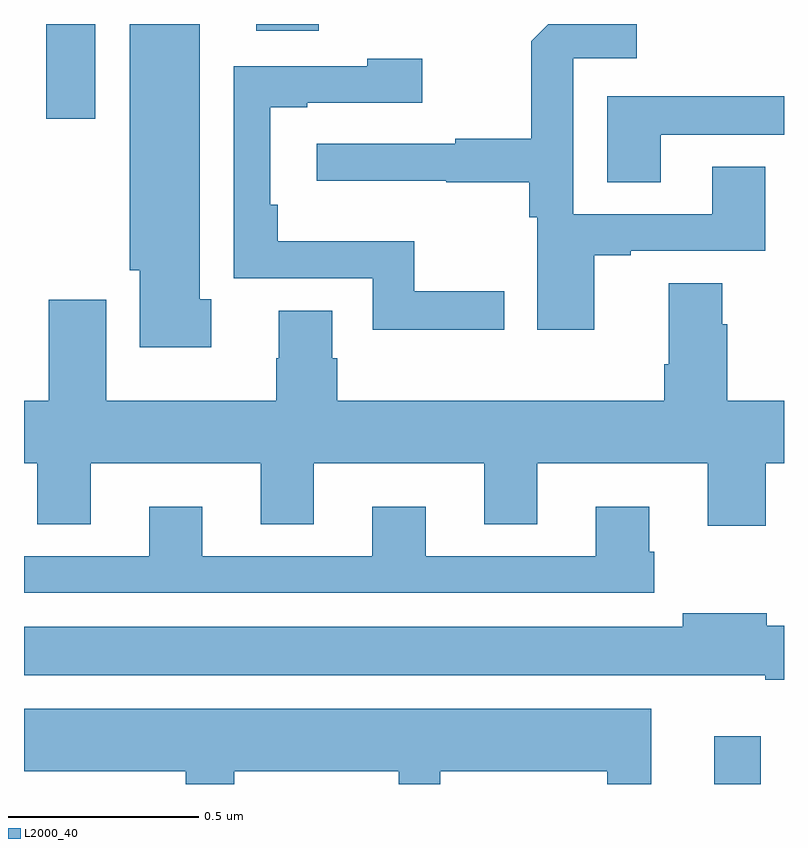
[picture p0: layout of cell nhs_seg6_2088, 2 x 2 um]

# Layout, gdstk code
import gdstk
lib = gdstk.Library(unit=1e-6, precision=1e-09)
def R(c, l, rs):  # rectangles x0, y0, x1, y1
    for r in rs: c.add(gdstk.rectangle(r[:2], r[2:], *l))
def P(c, l, *ps):  # polygons
    for p in ps: c.add(gdstk.Polygon(p, *l))
L2000_40 = (2000, 40)

nhs_seg6_2088 = lib.new_cell('nhs_seg6_2088')
R(nhs_seg6_2088, L2000_40, [(139.817,938.5,139.939,938.626), (138.059,940.251,138.187,940.5), (138.611,940.482,138.775,940.5)])
P(nhs_seg6_2088, L2000_40, [(139.501,939.891),(139.597,939.891),(139.597,939.903),(139.951,939.903),(139.951,940.124),(139.811,940.124),(139.811,939.999),(139.446,939.999),(139.446,940.41),(139.612,940.41),(139.612,940.5),(139.38,940.5),(139.335,940.455),(139.335,940.198),(139.135,940.198),(139.135,940.185),(138.771,940.185),(138.771,940.088),(139.111,940.088),(139.111,940.084),(139.33,940.084),(139.33,939.992),(139.35,939.992),(139.35,939.696),(139.501,939.696)],
  [(138.493,939.776),(138.463,939.776),(138.463,940.5),(138.278,940.5),(138.278,939.852),(138.305,939.852),(138.305,939.65),(138.493,939.65)],
  [(139.264,939.797),(139.027,939.797),(139.027,939.928),(138.668,939.928),(138.668,940.024),(138.648,940.024),(138.648,940.281),(138.745,940.281),(138.745,940.293),(139.048,940.293),(139.048,940.408),(138.903,940.408),(138.903,940.389),(138.552,940.389),(138.552,939.831),(138.918,939.831),(138.918,939.695),(139.264,939.695)],
  [(139.675,940.209),(140,940.209),(140,940.31),(139.535,940.31),(139.535,940.084),(139.675,940.084)],
  [(139.952,939.344),(140,939.344),(140,939.508),(139.85,939.508),(139.85,939.71),(139.837,939.71),(139.837,939.818),(139.697,939.818),(139.697,939.604),(139.685,939.604),(139.685,939.508),(138.824,939.508),(138.824,939.621),(138.811,939.621),(138.811,939.746),(138.671,939.746),(138.671,939.621),(138.664,939.621),(138.664,939.508),(138.217,939.508),(138.217,939.775),(138.065,939.775),(138.065,939.508),(138,939.508),(138,939.344),(138.035,939.344),(138.035,939.184),(138.175,939.184),(138.175,939.344),(138.623,939.344),(138.623,939.184),(138.763,939.184),(138.763,939.344),(139.211,939.344),(139.211,939.184),(139.351,939.184),(139.351,939.344),(139.799,939.344),(139.799,939.18),(139.952,939.18)],
  [(139.658,939.111),(139.645,939.111),(139.645,939.229),(139.505,939.229),(139.505,939.099),(139.057,939.099),(139.057,939.229),(138.917,939.229),(138.917,939.099),(138.469,939.099),(138.469,939.229),(138.329,939.229),(138.329,939.099),(138,939.099),(138,939.003),(139.658,939.003)],
  [(140,938.916),(139.954,938.916),(139.954,938.95),(139.733,938.95),(139.733,938.914),(138,938.914),(138,938.786),(139.95,938.786),(139.95,938.774),(140,938.774)],
  [(138.553,938.534),(138.986,938.534),(138.986,938.5),(139.096,938.5),(139.096,938.534),(139.535,938.534),(139.535,938.5),(139.651,938.5),(139.651,938.698),(138,938.698),(138,938.534),(138.425,938.534),(138.425,938.5),(138.553,938.5)])

lib.write_gds('nhs_seg6_2088.gds')
